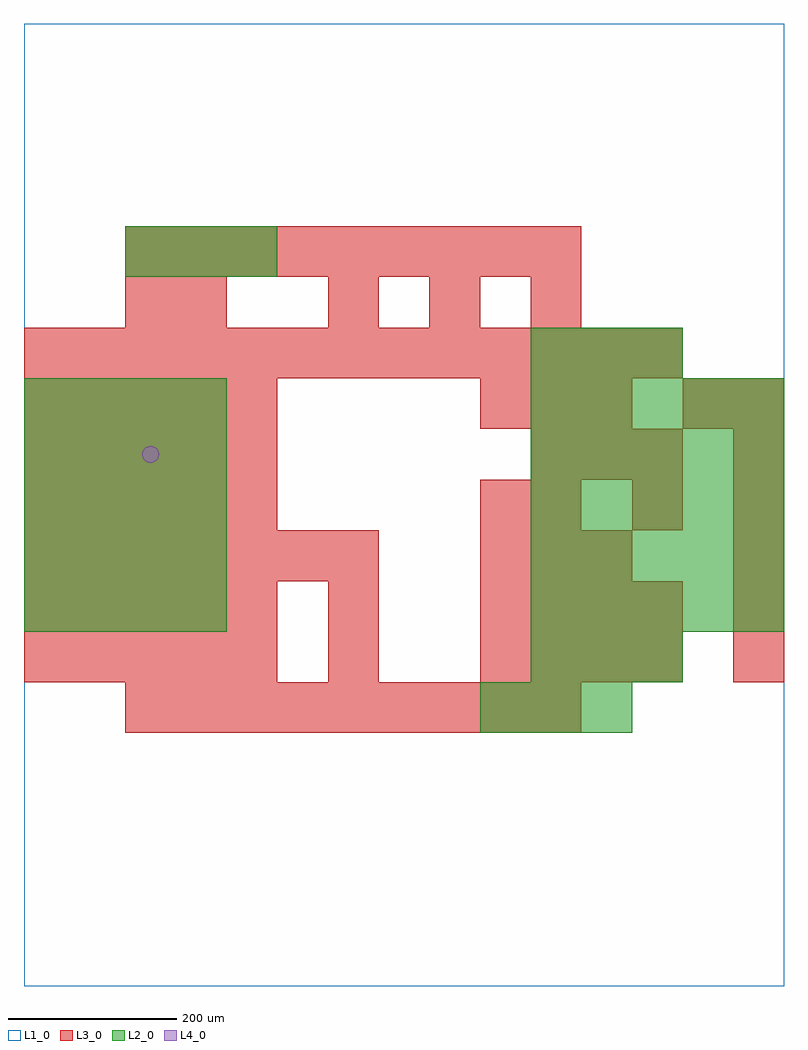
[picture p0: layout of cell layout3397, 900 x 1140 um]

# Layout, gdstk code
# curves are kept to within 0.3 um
import gdstk
lib = gdstk.Library(unit=1e-6, precision=1e-09)
def R(c, l, rs):  # rectangles x0, y0, x1, y1
    for r in rs: c.add(gdstk.rectangle(r[:2], r[2:], *l))
def A(c, l, x, y, w, h, nx, ny, dx, dy):  # array of equal rectangles
    R(c, l, [(x+i*dx, y+j*dy, x+i*dx+w, y+j*dy+h) for i in range(nx) for j in range(ny)])
def P(c, l, *ps):  # polygons
    for p in ps: c.add(gdstk.Polygon(p, *l))
L1_0 = (1, 0)
L2_0 = (2, 0)
L3_0 = (3, 0)
L4_0 = (4, 0)

layout3397 = lib.new_cell('layout3397')
R(layout3397, L1_0, [(0,0,900,1140)])
A(layout3397, L2_0, 540, 300, 60, 60, 3, 1, 60, 0)
A(layout3397, L2_0, 600, 360, 60, 60, 3, 2, 60, 360)
A(layout3397, L2_0, 0, 420, 60, 60, 4, 5, 60, 60)
A(layout3397, L2_0, 600, 420, 60, 60, 5, 5, 60, 60)
A(layout3397, L2_0, 120, 840, 60, 60, 3, 1, 60, 0)
A(layout3397, L3_0, 120, 300, 60, 60, 9, 2, 60, 540)
A(layout3397, L3_0, 0, 360, 60, 60, 5, 2, 60, 60)
A(layout3397, L3_0, 540, 360, 60, 60, 4, 2, 60, 60)
A(layout3397, L3_0, 840, 360, 60, 60, 1, 3, 0, 60)
A(layout3397, L3_0, 0, 480, 60, 60, 7, 1, 60, 0)
A(layout3397, L3_0, 540, 480, 60, 60, 3, 2, 60, 180)
A(layout3397, L3_0, 0, 540, 60, 60, 5, 3, 60, 60)
A(layout3397, L3_0, 600, 540, 60, 60, 3, 1, 120, 0)
A(layout3397, L3_0, 600, 600, 60, 60, 3, 1, 60, 0)
A(layout3397, L3_0, 0, 720, 60, 60, 13, 1, 60, 0)
A(layout3397, L3_0, 360, 780, 60, 60, 3, 1, 120, 0)
R(layout3397, L3_0, [(360,360,420,420), (360,420,420,480), (540,540,600,600), (840,600,900,660), (780,660,840,720), (840,660,900,720), (120,780,180,840), (180,780,240,840)])
P(layout3397, L4_0, [(160,630),(159.239,633.827),(157.071,637.071),(153.827,639.239),(150,640),(146.173,639.239),(142.929,637.071),(140.761,633.827),(140,630),(140.761,626.173),(142.929,622.929),(146.173,620.761),(150,620),(153.827,620.761),(157.071,622.929),(159.239,626.173)])

lib.write_gds('layout3397.gds')
